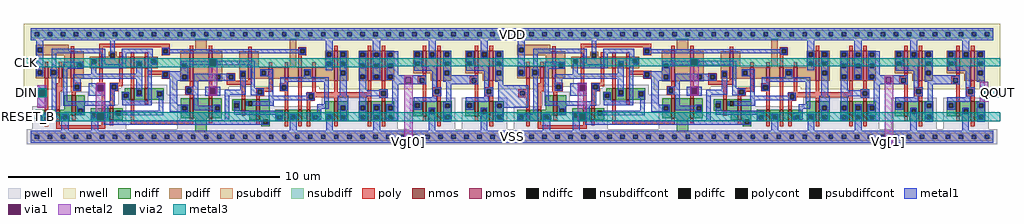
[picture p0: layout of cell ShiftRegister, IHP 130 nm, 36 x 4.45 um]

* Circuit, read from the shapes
.subckt ShiftRegister CLK DIN RESET_B Vg[0] Vg[1] QOUT VDD VSS
XM1 n1 DIN n2 VSS sg13_lv_nmos w=0.42u l=0.13u
XM2 VSS RESET_B n1 VSS sg13_lv_nmos w=0.42u l=0.13u
XM3 n3 n4 VSS VSS sg13_lv_nmos w=0.74u l=0.13u
XM4 n5 RESET_B VSS VSS sg13_lv_nmos w=0.42u l=0.13u
XM5 n6 n3 n5 VSS sg13_lv_nmos w=0.42u l=0.13u
XM6 n4 n7 n2 VSS sg13_lv_nmos w=0.42u l=0.13u
XM7 n6 n8 n4 VSS sg13_lv_nmos w=0.42u l=0.13u
XM8 VSS n7 n8 VSS sg13_lv_nmos w=0.74u l=0.13u
XM9 n7 CLK VSS VSS sg13_lv_nmos w=0.74u l=0.13u
XM10 n9 n7 n10 VSS sg13_lv_nmos w=0.42u l=0.13u
XM11 n3 n8 n9 VSS sg13_lv_nmos w=0.74u l=0.13u
XM12 VSS n11 n10 VSS sg13_lv_nmos w=0.42u l=0.13u
XM13 n12 RESET_B VSS VSS sg13_lv_nmos w=0.42u l=0.13u
XM14 n11 n9 n12 VSS sg13_lv_nmos w=0.42u l=0.13u
XM15 sg13g2_dfrbp_1_0/Q_N n9 VSS VSS sg13_lv_nmos w=0.74u l=0.13u
XM16 VSS n9 n13 VSS sg13_lv_nmos w=0.74u l=0.13u
XM17 Vg[0] n13 VSS VSS sg13_lv_nmos w=0.74u l=0.13u
XM18 VSS Vg[0] n14 VSS sg13_lv_nmos w=0.55u l=0.13u
XM19 sg13g2_buf_1_1/A n14 VSS VSS sg13_lv_nmos w=0.74u l=0.13u
XM20 VSS sg13g2_buf_1_1/A n15 VSS sg13_lv_nmos w=0.55u l=0.13u
XM21 sg13g2_dfrbp_1_1/D n15 VSS VSS sg13_lv_nmos w=0.74u l=0.13u
XM22 n16 sg13g2_dfrbp_1_1/D n17 VSS sg13_lv_nmos w=0.42u l=0.13u
XM23 VSS RESET_B n16 VSS sg13_lv_nmos w=0.42u l=0.13u
XM24 n18 n19 VSS VSS sg13_lv_nmos w=0.74u l=0.13u
XM25 n20 RESET_B VSS VSS sg13_lv_nmos w=0.42u l=0.13u
XM26 n21 n18 n20 VSS sg13_lv_nmos w=0.42u l=0.13u
XM27 n19 n22 n17 VSS sg13_lv_nmos w=0.42u l=0.13u
XM28 n21 n23 n19 VSS sg13_lv_nmos w=0.42u l=0.13u
XM29 VSS n22 n23 VSS sg13_lv_nmos w=0.74u l=0.13u
XM30 n22 CLK VSS VSS sg13_lv_nmos w=0.74u l=0.13u
XM31 n24 n22 n25 VSS sg13_lv_nmos w=0.42u l=0.13u
XM32 n18 n23 n24 VSS sg13_lv_nmos w=0.74u l=0.13u
XM33 VSS n26 n25 VSS sg13_lv_nmos w=0.42u l=0.13u
XM34 n27 RESET_B VSS VSS sg13_lv_nmos w=0.42u l=0.13u
XM35 n26 n24 n27 VSS sg13_lv_nmos w=0.42u l=0.13u
XM36 sg13g2_dfrbp_1_1/Q_N n24 VSS VSS sg13_lv_nmos w=0.74u l=0.13u
XM37 VSS n24 n28 VSS sg13_lv_nmos w=0.74u l=0.13u
XM38 Vg[1] n28 VSS VSS sg13_lv_nmos w=0.74u l=0.13u
XM39 VSS Vg[1] n29 VSS sg13_lv_nmos w=0.55u l=0.13u
XM40 sg13g2_buf_1_3/A n29 VSS VSS sg13_lv_nmos w=0.74u l=0.13u
XM41 VSS sg13g2_buf_1_3/A n30 VSS sg13_lv_nmos w=0.55u l=0.13u
XM42 QOUT n30 VSS VSS sg13_lv_nmos w=0.74u l=0.13u
XM43 n2 DIN VDD VDD sg13_lv_pmos w=0.42u l=0.13u
XM44 VDD RESET_B n2 VDD sg13_lv_pmos w=0.42u l=0.13u
XM45 n3 n4 VDD VDD sg13_lv_pmos w=1u l=0.13u
XM46 VDD RESET_B n4 VDD sg13_lv_pmos w=0.42u l=0.13u
XM47 n31 n3 VDD VDD sg13_lv_pmos w=0.42u l=0.13u
XM48 n4 n7 n31 VDD sg13_lv_pmos w=0.42u l=0.13u
XM49 n2 n8 n4 VDD sg13_lv_pmos w=0.42u l=0.13u
XM50 VDD n7 n8 VDD sg13_lv_pmos w=1.12u l=0.13u
XM51 n7 CLK VDD VDD sg13_lv_pmos w=1.12u l=0.13u
XM52 n9 n7 n3 VDD sg13_lv_pmos w=1u l=0.13u
XM53 n32 n8 n9 VDD sg13_lv_pmos w=0.42u l=0.13u
XM54 VDD n11 n32 VDD sg13_lv_pmos w=0.42u l=0.13u
XM55 n11 RESET_B VDD VDD sg13_lv_pmos w=0.42u l=0.13u
XM56 VDD n9 n11 VDD sg13_lv_pmos w=0.42u l=0.13u
XM57 sg13g2_dfrbp_1_0/Q_N n9 VDD VDD sg13_lv_pmos w=1.12u l=0.13u
XM58 VDD n9 n13 VDD sg13_lv_pmos w=1.12u l=0.13u
XM59 Vg[0] n13 VDD VDD sg13_lv_pmos w=1.12u l=0.13u
XM60 VDD Vg[0] n14 VDD sg13_lv_pmos w=0.84u l=0.13u
XM61 sg13g2_buf_1_1/A n14 VDD VDD sg13_lv_pmos w=1.12u l=0.13u
XM62 VDD sg13g2_buf_1_1/A n15 VDD sg13_lv_pmos w=0.84u l=0.13u
XM63 sg13g2_dfrbp_1_1/D n15 VDD VDD sg13_lv_pmos w=1.12u l=0.13u
XM64 n17 sg13g2_dfrbp_1_1/D VDD VDD sg13_lv_pmos w=0.42u l=0.13u
XM65 VDD RESET_B n17 VDD sg13_lv_pmos w=0.42u l=0.13u
XM66 n18 n19 VDD VDD sg13_lv_pmos w=1u l=0.13u
XM67 VDD RESET_B n19 VDD sg13_lv_pmos w=0.42u l=0.13u
XM68 n33 n18 VDD VDD sg13_lv_pmos w=0.42u l=0.13u
XM69 n19 n22 n33 VDD sg13_lv_pmos w=0.42u l=0.13u
XM70 n17 n23 n19 VDD sg13_lv_pmos w=0.42u l=0.13u
XM71 VDD n22 n23 VDD sg13_lv_pmos w=1.12u l=0.13u
XM72 n22 CLK VDD VDD sg13_lv_pmos w=1.12u l=0.13u
XM73 n24 n22 n18 VDD sg13_lv_pmos w=1u l=0.13u
XM74 n34 n23 n24 VDD sg13_lv_pmos w=0.42u l=0.13u
XM75 VDD n26 n34 VDD sg13_lv_pmos w=0.42u l=0.13u
XM76 n26 RESET_B VDD VDD sg13_lv_pmos w=0.42u l=0.13u
XM77 VDD n24 n26 VDD sg13_lv_pmos w=0.42u l=0.13u
XM78 sg13g2_dfrbp_1_1/Q_N n24 VDD VDD sg13_lv_pmos w=1.12u l=0.13u
XM79 VDD n24 n28 VDD sg13_lv_pmos w=1.12u l=0.13u
XM80 Vg[1] n28 VDD VDD sg13_lv_pmos w=1.12u l=0.13u
XM81 VDD Vg[1] n29 VDD sg13_lv_pmos w=0.84u l=0.13u
XM82 sg13g2_buf_1_3/A n29 VDD VDD sg13_lv_pmos w=1.12u l=0.13u
XM83 VDD sg13g2_buf_1_3/A n30 VDD sg13_lv_pmos w=0.84u l=0.13u
XM84 QOUT n30 VDD VDD sg13_lv_pmos w=1.12u l=0.13u
.ends

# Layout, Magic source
magic
tech ihp-sg13g2
<< metal1 >>
rect -16 357 3536 401
rect 1340 221 1444 227
rect 1340 198 1366 221
rect 1389 198 1444 221
rect 1340 194 1444 198
rect 1536 194 1636 227
rect 3116 220 3220 227
rect 3116 200 3139 220
rect 3159 200 3220 220
rect 3116 194 3220 200
rect 3311 194 3412 227
rect 1728 108 1820 190
rect 3485 173 3517 179
rect 3485 151 3491 173
rect 3512 151 3517 173
rect 3485 146 3517 151
rect -16 -21 3536 23
<< via1 >>
rect 1366 198 1389 221
rect 3139 200 3159 220
rect 15 151 38 174
rect 230 168 254 193
rect 646 158 668 181
rect 2009 171 2030 193
rect 2422 158 2444 181
rect 3491 151 3512 173
<< metal2 >>
rect 641 286 673 291
rect 641 263 646 286
rect 668 263 673 286
rect 225 193 259 198
rect 9 174 44 190
rect 9 151 15 174
rect 38 151 44 174
rect 9 107 44 151
rect 225 168 230 193
rect 254 168 259 193
rect 225 87 259 168
rect 641 181 673 263
rect 2417 287 2448 291
rect 2417 264 2422 287
rect 2443 264 2448 287
rect 641 158 646 181
rect 668 158 673 181
rect 641 153 673 158
rect 1362 221 1394 227
rect 1362 198 1366 221
rect 1389 198 1394 221
rect 225 62 230 87
rect 254 62 259 87
rect 225 57 259 62
rect 1362 -27 1394 198
rect 2003 193 2035 200
rect 2003 171 2009 193
rect 2030 171 2035 193
rect 2003 86 2035 171
rect 2417 181 2448 264
rect 2417 158 2422 181
rect 2444 158 2448 181
rect 2417 153 2448 158
rect 3134 220 3166 227
rect 3134 200 3139 220
rect 3159 200 3166 220
rect 2003 64 2009 86
rect 2030 64 2035 86
rect 2003 58 2035 64
rect 3134 -27 3166 200
rect 3485 173 3517 203
rect 3485 151 3491 173
rect 3512 151 3517 173
rect 3485 130 3517 151
<< via2 >>
rect 646 263 668 286
rect 15 151 38 174
rect 2422 264 2443 287
rect 230 62 254 87
rect 2009 64 2030 86
rect 3491 151 3512 173
<< metal3 >>
rect -40 287 3560 291
rect -40 286 2422 287
rect -40 263 646 286
rect 668 264 2422 286
rect 2443 264 3560 287
rect 668 263 3560 264
rect -40 261 3560 263
rect -40 258 1292 261
rect -40 174 44 179
rect -40 151 15 174
rect 38 151 44 174
rect -40 146 44 151
rect 3485 173 3560 179
rect 3485 151 3491 173
rect 3512 151 3560 173
rect 3485 146 3560 151
rect -40 87 3560 91
rect -40 62 230 87
rect 254 86 3560 87
rect 254 64 2009 86
rect 2030 64 3560 86
rect 254 62 3560 64
rect -40 58 3560 62
use sg13g2_buf_1  sg13g2_buf_1_0 ~/ASHES-IHP130nm/ihp130_dig
transform 1 0 1376 0 1 1
box -24 -28 216 417
use sg13g2_buf_1  sg13g2_buf_1_1
transform 1 0 1568 0 1 1
box -24 -28 216 417
use sg13g2_buf_1  sg13g2_buf_1_2
transform 1 0 3152 0 1 1
box -24 -28 216 417
use sg13g2_buf_1  sg13g2_buf_1_3
transform 1 0 3344 0 1 1
box -24 -28 216 417
use sg13g2_dfrbp_1  sg13g2_dfrbp_1_0 ~/ASHES-IHP130nm/ihp130_dig
transform 1 0 -16 0 1 1
box -24 -28 1416 417
use sg13g2_dfrbp_1  sg13g2_dfrbp_1_1
transform 1 0 1760 0 1 1
box -24 -28 1416 417
<< labels >>
flabel metal3 -40 258 -20 291 1 FreeSans 80 90 0 0 CLK
port 1 n
flabel metal3 -40 146 -20 179 1 FreeSans 80 90 0 0 DIN
port 2 n
flabel metal3 -40 58 -20 91 1 FreeSans 80 90 0 0 RESET_B
port 3 n
flabel metal2 1362 -27 1394 -7 1 FreeSans 80 0 0 0 Vg[0]
port 4 n
flabel metal2 3134 -27 3166 -7 1 FreeSans 80 0 0 0 Vg[1]
port 5 n
flabel metal3 3540 146 3560 179 1 FreeSans 80 90 0 0 QOUT
port 6 n
flabel metal1 -16 357 3536 401 1 FreeSans 240 0 0 0 VDD
port 7 n
flabel metal1 -16 -21 3536 23 1 FreeSans 240 0 0 0 VSS
port 8 n
<< end >>

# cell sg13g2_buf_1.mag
magic
tech ihp-sg13g2
magscale 1 2
<< nwell >>
rect -48 350 432 834
<< pwell >>
rect 14 56 348 288
rect -26 -56 410 56
<< nmos >>
rect 108 152 134 262
rect 218 114 244 262
<< pmos >>
rect 108 468 134 636
rect 218 412 244 636
<< ndiff >>
rect 40 247 108 262
rect 40 215 54 247
rect 86 215 108 247
rect 40 152 108 215
rect 134 202 218 262
rect 134 170 164 202
rect 196 170 218 202
rect 134 152 218 170
rect 148 114 218 152
rect 244 245 322 262
rect 244 213 276 245
rect 308 213 322 245
rect 244 162 322 213
rect 244 130 276 162
rect 308 130 322 162
rect 244 114 322 130
<< pdiff >>
rect 40 622 108 636
rect 40 590 54 622
rect 86 590 108 622
rect 40 554 108 590
rect 40 522 54 554
rect 86 522 108 554
rect 40 468 108 522
rect 134 622 218 636
rect 134 590 164 622
rect 196 590 218 622
rect 134 468 218 590
rect 168 412 218 468
rect 244 622 319 636
rect 244 590 273 622
rect 305 590 319 622
rect 244 554 319 590
rect 244 522 273 554
rect 305 522 319 554
rect 244 486 319 522
rect 244 454 273 486
rect 305 454 319 486
rect 244 412 319 454
<< ndiffc >>
rect 54 215 86 247
rect 164 170 196 202
rect 276 213 308 245
rect 276 130 308 162
<< pdiffc >>
rect 54 590 86 622
rect 54 522 86 554
rect 164 590 196 622
rect 273 590 305 622
rect 273 522 305 554
rect 273 454 305 486
<< psubdiff >>
rect 0 16 384 30
rect 0 -16 32 16
rect 64 -16 128 16
rect 160 -16 224 16
rect 256 -16 320 16
rect 352 -16 384 16
rect 0 -30 384 -16
<< nsubdiff >>
rect 0 772 384 786
rect 0 740 32 772
rect 64 740 128 772
rect 160 740 224 772
rect 256 740 320 772
rect 352 740 384 772
rect 0 726 384 740
<< psubdiffcont >>
rect 32 -16 64 16
rect 128 -16 160 16
rect 224 -16 256 16
rect 320 -16 352 16
<< nsubdiffcont >>
rect 32 740 64 772
rect 128 740 160 772
rect 224 740 256 772
rect 320 740 352 772
<< poly >>
rect 108 636 134 672
rect 218 636 244 672
rect 108 446 134 468
rect 73 432 134 446
rect 73 400 87 432
rect 119 400 134 432
rect 73 386 134 400
rect 108 262 134 386
rect 218 366 244 412
rect 184 349 244 366
rect 184 317 198 349
rect 230 317 244 349
rect 184 300 244 317
rect 218 262 244 300
rect 108 116 134 152
rect 218 78 244 114
<< polycont >>
rect 87 400 119 432
rect 198 317 230 349
<< metal1 >>
rect 0 772 384 800
rect 0 740 32 772
rect 64 740 128 772
rect 160 740 224 772
rect 256 740 320 772
rect 352 740 384 772
rect 0 712 384 740
rect 48 622 102 636
rect 48 590 54 622
rect 86 590 102 622
rect 48 554 102 590
rect 154 622 206 712
rect 154 590 164 622
rect 196 590 206 622
rect 154 578 206 590
rect 260 622 320 636
rect 260 590 273 622
rect 305 590 320 622
rect 48 522 54 554
rect 86 524 102 554
rect 260 554 320 590
rect 86 522 214 524
rect 48 488 214 522
rect 57 432 136 452
rect 57 400 87 432
rect 119 400 136 432
rect 57 386 136 400
rect 180 366 214 488
rect 260 522 273 554
rect 305 522 320 554
rect 260 486 320 522
rect 260 454 273 486
rect 305 454 320 486
rect 260 404 320 454
rect 180 349 245 366
rect 180 317 198 349
rect 230 317 245 349
rect 180 300 245 317
rect 180 293 214 300
rect 43 258 214 293
rect 282 258 320 404
rect 43 247 103 258
rect 43 215 54 247
rect 86 215 103 247
rect 43 200 103 215
rect 262 245 320 258
rect 153 202 203 214
rect 153 170 164 202
rect 196 170 203 202
rect 153 44 203 170
rect 262 213 276 245
rect 308 213 320 245
rect 262 162 320 213
rect 262 130 276 162
rect 308 130 320 162
rect 262 110 320 130
rect 0 16 384 44
rect 0 -16 32 16
rect 64 -16 128 16
rect 160 -16 224 16
rect 256 -16 320 16
rect 352 -16 384 16
rect 0 -44 384 -16
<< labels >>
flabel metal1 s 263 414 316 589 0 FreeSans 340 0 0 0 X
port 2 nsew
flabel metal1 s 57 386 136 452 0 FreeSans 340 0 0 0 A
port 1 nsew
flabel metal1 s 0 -44 384 44 0 FreeSans 400 0 0 0 VSS
port 4 nsew
flabel metal1 s 0 712 384 800 0 FreeSans 400 0 0 0 VDD
port 3 nsew
<< properties >>
string FIXED_BBOX 0 0 384 756
<< end >>

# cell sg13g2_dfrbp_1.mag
magic
tech ihp-sg13g2
magscale 1 2
<< nwell >>
rect -48 443 2832 834
rect -48 370 454 443
rect -48 350 187 370
rect 1044 367 2832 443
rect 1044 348 1463 367
rect 2131 350 2832 367
<< pwell >>
rect 669 358 1008 382
rect 223 237 426 333
rect 647 309 1008 358
rect 647 301 1435 309
rect 647 246 1790 301
rect 647 237 706 246
rect 223 224 706 237
rect 12 56 706 224
rect 1081 224 1790 246
rect 2148 224 2711 288
rect 1081 56 2711 224
rect -26 -56 2810 56
<< nmos >>
rect 106 114 132 198
rect 190 114 216 198
rect 306 159 332 307
rect 741 272 767 356
rect 843 272 869 356
rect 524 127 550 211
rect 586 127 612 211
rect 1175 135 1201 283
rect 1315 135 1341 283
rect 1557 191 1583 275
rect 1664 127 1690 275
rect 1874 114 1900 198
rect 1976 114 2002 198
rect 2038 114 2064 198
rect 2242 114 2268 262
rect 2489 114 2515 262
rect 2591 114 2617 262
<< pmos >>
rect 106 432 132 516
rect 208 432 234 516
rect 298 432 324 632
rect 508 505 534 589
rect 655 505 681 589
rect 741 505 767 589
rect 843 505 869 589
rect 1175 410 1201 634
rect 1315 410 1341 634
rect 1607 429 1633 629
rect 1759 429 1785 513
rect 1874 429 1900 513
rect 1976 429 2002 513
rect 2078 429 2104 513
rect 2242 412 2268 636
rect 2489 412 2515 636
rect 2591 412 2617 636
<< ndiff >>
rect 249 198 306 307
rect 38 160 106 198
rect 38 128 52 160
rect 84 128 106 160
rect 38 114 106 128
rect 132 114 190 198
rect 216 160 306 198
rect 216 128 238 160
rect 270 159 306 160
rect 332 208 400 307
rect 695 332 741 356
rect 673 318 741 332
rect 673 286 687 318
rect 719 286 741 318
rect 673 272 741 286
rect 767 342 843 356
rect 767 310 789 342
rect 821 310 843 342
rect 767 272 843 310
rect 869 330 982 356
rect 869 298 936 330
rect 968 298 982 330
rect 869 272 982 298
rect 332 176 354 208
rect 386 176 400 208
rect 332 159 400 176
rect 443 173 524 211
rect 270 128 289 159
rect 216 114 289 128
rect 443 141 457 173
rect 489 141 524 173
rect 443 127 524 141
rect 550 127 586 211
rect 612 191 680 211
rect 612 159 634 191
rect 666 159 680 191
rect 612 127 680 159
rect 1107 226 1175 283
rect 1107 194 1121 226
rect 1153 194 1175 226
rect 1107 135 1175 194
rect 1201 135 1315 283
rect 1341 226 1409 283
rect 1341 194 1363 226
rect 1395 194 1409 226
rect 1341 135 1409 194
rect 1489 247 1557 275
rect 1489 215 1503 247
rect 1535 215 1557 247
rect 1489 191 1557 215
rect 1583 261 1664 275
rect 1583 229 1605 261
rect 1637 229 1664 261
rect 1583 191 1664 229
rect 1215 36 1301 135
rect 1612 127 1664 191
rect 1690 127 1764 275
rect 1704 125 1764 127
rect 1704 93 1718 125
rect 1750 93 1764 125
rect 1806 160 1874 198
rect 1806 128 1820 160
rect 1852 128 1874 160
rect 1806 114 1874 128
rect 1900 160 1976 198
rect 1900 128 1922 160
rect 1954 128 1976 160
rect 1900 114 1976 128
rect 2002 114 2038 198
rect 2064 160 2132 198
rect 2064 128 2086 160
rect 2118 128 2132 160
rect 2064 114 2132 128
rect 2174 160 2242 262
rect 2174 128 2188 160
rect 2220 128 2242 160
rect 2174 114 2242 128
rect 2268 228 2345 262
rect 2268 196 2290 228
rect 2322 196 2345 228
rect 2268 160 2345 196
rect 2268 128 2290 160
rect 2322 128 2345 160
rect 2268 114 2345 128
rect 2421 228 2489 262
rect 2421 196 2435 228
rect 2467 196 2489 228
rect 2421 160 2489 196
rect 2421 128 2435 160
rect 2467 128 2489 160
rect 2421 114 2489 128
rect 2515 228 2591 262
rect 2515 196 2537 228
rect 2569 196 2591 228
rect 2515 160 2591 196
rect 2515 128 2537 160
rect 2569 128 2591 160
rect 2515 114 2591 128
rect 2617 228 2685 262
rect 2617 196 2639 228
rect 2671 196 2685 228
rect 2617 160 2685 196
rect 2617 128 2639 160
rect 2671 128 2685 160
rect 2617 114 2685 128
rect 1704 78 1764 93
<< pdiff >>
rect 38 656 283 679
rect 38 624 53 656
rect 85 632 283 656
rect 85 624 298 632
rect 38 602 298 624
rect 248 516 298 602
rect 38 490 106 516
rect 38 458 52 490
rect 84 458 106 490
rect 38 432 106 458
rect 132 490 208 516
rect 132 458 154 490
rect 186 458 208 490
rect 132 432 208 458
rect 234 432 298 516
rect 324 542 392 632
rect 576 614 636 628
rect 576 589 590 614
rect 324 510 346 542
rect 378 510 392 542
rect 324 432 392 510
rect 438 570 508 589
rect 438 538 452 570
rect 484 538 508 570
rect 438 505 508 538
rect 534 582 590 589
rect 622 589 636 614
rect 1215 634 1301 720
rect 622 582 655 589
rect 534 505 655 582
rect 681 505 741 589
rect 767 551 843 589
rect 767 519 789 551
rect 821 519 843 551
rect 767 505 843 519
rect 869 573 937 589
rect 869 541 891 573
rect 923 541 937 573
rect 869 505 937 541
rect 1106 540 1175 634
rect 1106 508 1120 540
rect 1152 508 1175 540
rect 1106 456 1175 508
rect 1106 424 1120 456
rect 1152 424 1175 456
rect 1106 410 1175 424
rect 1201 410 1315 634
rect 1341 456 1414 634
rect 1539 475 1607 629
rect 1341 424 1368 456
rect 1400 424 1414 456
rect 1341 410 1414 424
rect 1539 443 1553 475
rect 1585 443 1607 475
rect 1539 429 1607 443
rect 1633 513 1683 629
rect 1914 513 1962 720
rect 2174 622 2242 636
rect 2174 590 2188 622
rect 2220 590 2242 622
rect 2174 554 2242 590
rect 2174 522 2188 554
rect 2220 522 2242 554
rect 2174 513 2242 522
rect 1633 487 1759 513
rect 1633 455 1705 487
rect 1737 455 1759 487
rect 1633 429 1759 455
rect 1785 429 1874 513
rect 1900 429 1976 513
rect 2002 487 2078 513
rect 2002 455 2024 487
rect 2056 455 2078 487
rect 2002 429 2078 455
rect 2104 429 2242 513
rect 2174 412 2242 429
rect 2268 622 2345 636
rect 2268 590 2290 622
rect 2322 590 2345 622
rect 2268 554 2345 590
rect 2268 522 2290 554
rect 2322 522 2345 554
rect 2268 486 2345 522
rect 2268 454 2290 486
rect 2322 454 2345 486
rect 2268 412 2345 454
rect 2420 621 2489 636
rect 2420 589 2434 621
rect 2466 589 2489 621
rect 2420 540 2489 589
rect 2420 508 2434 540
rect 2466 508 2489 540
rect 2420 459 2489 508
rect 2420 427 2434 459
rect 2466 427 2489 459
rect 2420 412 2489 427
rect 2515 621 2591 636
rect 2515 589 2537 621
rect 2569 589 2591 621
rect 2515 540 2591 589
rect 2515 508 2537 540
rect 2569 508 2591 540
rect 2515 459 2591 508
rect 2515 427 2537 459
rect 2569 427 2591 459
rect 2515 412 2591 427
rect 2617 621 2685 636
rect 2617 589 2639 621
rect 2671 589 2685 621
rect 2617 540 2685 589
rect 2617 508 2639 540
rect 2671 508 2685 540
rect 2617 459 2685 508
rect 2617 427 2639 459
rect 2671 427 2685 459
rect 2617 412 2685 427
<< ndiffc >>
rect 52 128 84 160
rect 238 128 270 160
rect 687 286 719 318
rect 789 310 821 342
rect 936 298 968 330
rect 354 176 386 208
rect 457 141 489 173
rect 634 159 666 191
rect 1121 194 1153 226
rect 1363 194 1395 226
rect 1503 215 1535 247
rect 1605 229 1637 261
rect 1718 93 1750 125
rect 1820 128 1852 160
rect 1922 128 1954 160
rect 2086 128 2118 160
rect 2188 128 2220 160
rect 2290 196 2322 228
rect 2290 128 2322 160
rect 2435 196 2467 228
rect 2435 128 2467 160
rect 2537 196 2569 228
rect 2537 128 2569 160
rect 2639 196 2671 228
rect 2639 128 2671 160
<< pdiffc >>
rect 53 624 85 656
rect 52 458 84 490
rect 154 458 186 490
rect 346 510 378 542
rect 452 538 484 570
rect 590 582 622 614
rect 789 519 821 551
rect 891 541 923 573
rect 1120 508 1152 540
rect 1120 424 1152 456
rect 1368 424 1400 456
rect 1553 443 1585 475
rect 2188 590 2220 622
rect 2188 522 2220 554
rect 1705 455 1737 487
rect 2024 455 2056 487
rect 2290 590 2322 622
rect 2290 522 2322 554
rect 2290 454 2322 486
rect 2434 589 2466 621
rect 2434 508 2466 540
rect 2434 427 2466 459
rect 2537 589 2569 621
rect 2537 508 2569 540
rect 2537 427 2569 459
rect 2639 589 2671 621
rect 2639 508 2671 540
rect 2639 427 2671 459
<< psubdiff >>
rect 1215 30 1301 36
rect 0 16 2784 30
rect 0 -16 32 16
rect 64 -16 128 16
rect 160 -16 224 16
rect 256 -16 320 16
rect 352 -16 416 16
rect 448 -16 512 16
rect 544 -16 608 16
rect 640 -16 704 16
rect 736 -16 800 16
rect 832 -16 896 16
rect 928 -16 992 16
rect 1024 -16 1088 16
rect 1120 -16 1184 16
rect 1216 -16 1280 16
rect 1312 -16 1376 16
rect 1408 -16 1472 16
rect 1504 -16 1568 16
rect 1600 -16 1664 16
rect 1696 -16 1760 16
rect 1792 -16 1856 16
rect 1888 -16 1952 16
rect 1984 -16 2048 16
rect 2080 -16 2144 16
rect 2176 -16 2240 16
rect 2272 -16 2336 16
rect 2368 -16 2432 16
rect 2464 -16 2528 16
rect 2560 -16 2624 16
rect 2656 -16 2720 16
rect 2752 -16 2784 16
rect 0 -30 2784 -16
<< nsubdiff >>
rect 0 772 2784 786
rect 0 740 32 772
rect 64 740 128 772
rect 160 740 224 772
rect 256 740 320 772
rect 352 740 416 772
rect 448 740 512 772
rect 544 740 608 772
rect 640 740 704 772
rect 736 740 800 772
rect 832 740 896 772
rect 928 740 992 772
rect 1024 740 1088 772
rect 1120 740 1184 772
rect 1216 740 1280 772
rect 1312 740 1376 772
rect 1408 740 1472 772
rect 1504 740 1568 772
rect 1600 740 1664 772
rect 1696 740 1760 772
rect 1792 740 1856 772
rect 1888 740 1952 772
rect 1984 740 2048 772
rect 2080 740 2144 772
rect 2176 740 2240 772
rect 2272 740 2336 772
rect 2368 740 2432 772
rect 2464 740 2528 772
rect 2560 740 2624 772
rect 2656 740 2720 772
rect 2752 740 2784 772
rect 0 726 2784 740
rect 1215 720 1301 726
rect 1914 720 1962 726
<< psubdiffcont >>
rect 32 -16 64 16
rect 128 -16 160 16
rect 224 -16 256 16
rect 320 -16 352 16
rect 416 -16 448 16
rect 512 -16 544 16
rect 608 -16 640 16
rect 704 -16 736 16
rect 800 -16 832 16
rect 896 -16 928 16
rect 992 -16 1024 16
rect 1088 -16 1120 16
rect 1184 -16 1216 16
rect 1280 -16 1312 16
rect 1376 -16 1408 16
rect 1472 -16 1504 16
rect 1568 -16 1600 16
rect 1664 -16 1696 16
rect 1760 -16 1792 16
rect 1856 -16 1888 16
rect 1952 -16 1984 16
rect 2048 -16 2080 16
rect 2144 -16 2176 16
rect 2240 -16 2272 16
rect 2336 -16 2368 16
rect 2432 -16 2464 16
rect 2528 -16 2560 16
rect 2624 -16 2656 16
rect 2720 -16 2752 16
<< nsubdiffcont >>
rect 32 740 64 772
rect 128 740 160 772
rect 224 740 256 772
rect 320 740 352 772
rect 416 740 448 772
rect 512 740 544 772
rect 608 740 640 772
rect 704 740 736 772
rect 800 740 832 772
rect 896 740 928 772
rect 992 740 1024 772
rect 1088 740 1120 772
rect 1184 740 1216 772
rect 1280 740 1312 772
rect 1376 740 1408 772
rect 1472 740 1504 772
rect 1568 740 1600 772
rect 1664 740 1696 772
rect 1760 740 1792 772
rect 1856 740 1888 772
rect 1952 740 1984 772
rect 2048 740 2080 772
rect 2144 740 2176 772
rect 2240 740 2272 772
rect 2336 740 2368 772
rect 2432 740 2464 772
rect 2528 740 2560 772
rect 2624 740 2656 772
rect 2720 740 2752 772
<< poly >>
rect 298 632 324 668
rect 508 661 1027 687
rect 106 516 132 552
rect 208 516 234 552
rect 508 589 534 661
rect 967 647 1027 661
rect 655 589 681 625
rect 741 589 767 625
rect 843 589 869 625
rect 967 615 981 647
rect 1013 615 1027 647
rect 1175 634 1201 670
rect 1315 634 1341 670
rect 967 601 1027 615
rect 106 351 132 432
rect 208 396 234 432
rect 47 337 132 351
rect 47 305 61 337
rect 93 305 132 337
rect 47 291 132 305
rect 106 198 132 291
rect 190 337 234 396
rect 298 397 324 432
rect 508 397 534 505
rect 655 397 681 505
rect 298 383 373 397
rect 298 351 327 383
rect 359 351 373 383
rect 298 337 373 351
rect 490 383 550 397
rect 490 351 504 383
rect 536 351 550 383
rect 490 337 550 351
rect 190 198 216 337
rect 306 307 332 337
rect 524 211 550 337
rect 586 383 681 397
rect 586 351 600 383
rect 632 371 681 383
rect 632 351 646 371
rect 741 356 767 505
rect 843 488 869 505
rect 843 474 1027 488
rect 843 458 981 474
rect 843 356 869 458
rect 967 442 981 458
rect 1013 442 1027 474
rect 967 428 1027 442
rect 1607 629 1633 665
rect 1449 456 1509 470
rect 1449 424 1463 456
rect 1495 424 1509 456
rect 1759 513 1785 549
rect 1874 513 1900 549
rect 1976 647 2036 661
rect 1976 615 1990 647
rect 2022 615 2036 647
rect 2242 636 2268 672
rect 2489 636 2515 672
rect 2591 636 2617 672
rect 1976 601 2036 615
rect 1976 513 2002 601
rect 2078 513 2104 549
rect 1449 414 1509 424
rect 1607 414 1633 429
rect 1175 371 1201 410
rect 1141 357 1201 371
rect 586 337 646 351
rect 586 211 612 337
rect 1141 325 1155 357
rect 1187 325 1201 357
rect 1141 311 1201 325
rect 1175 283 1201 311
rect 1315 371 1341 410
rect 1449 384 1633 414
rect 1315 357 1375 371
rect 1315 325 1329 357
rect 1361 325 1375 357
rect 1315 311 1375 325
rect 1315 283 1341 311
rect 306 123 332 159
rect 106 78 132 114
rect 190 86 216 114
rect 524 86 550 127
rect 190 59 550 86
rect 586 85 612 127
rect 741 121 767 272
rect 843 236 869 272
rect 1557 275 1583 384
rect 1759 361 1785 429
rect 1874 394 1900 429
rect 1664 347 1785 361
rect 1664 315 1678 347
rect 1710 332 1785 347
rect 1840 380 1900 394
rect 1840 348 1854 380
rect 1886 348 1900 380
rect 1840 334 1900 348
rect 1710 315 1724 332
rect 1664 301 1724 315
rect 1664 275 1690 301
rect 1557 153 1583 191
rect 1175 121 1201 135
rect 741 93 1201 121
rect 1315 99 1341 135
rect 1874 198 1900 334
rect 1976 198 2002 429
rect 2078 327 2104 429
rect 2242 327 2268 412
rect 2489 327 2515 412
rect 2591 349 2617 412
rect 2038 313 2515 327
rect 2038 281 2052 313
rect 2084 290 2515 313
rect 2084 281 2098 290
rect 2038 267 2098 281
rect 2038 198 2064 267
rect 2242 262 2268 290
rect 2489 262 2515 290
rect 2574 335 2634 349
rect 2574 303 2588 335
rect 2620 303 2634 335
rect 2574 289 2634 303
rect 2591 262 2617 289
rect 1664 89 1690 127
rect 1874 78 1900 114
rect 1976 78 2002 114
rect 2038 78 2064 114
rect 2242 78 2268 114
rect 2489 78 2515 114
rect 2591 78 2617 114
<< polycont >>
rect 981 615 1013 647
rect 61 305 93 337
rect 327 351 359 383
rect 504 351 536 383
rect 600 351 632 383
rect 981 442 1013 474
rect 1463 424 1495 456
rect 1990 615 2022 647
rect 1155 325 1187 357
rect 1329 325 1361 357
rect 1678 315 1710 347
rect 1854 348 1886 380
rect 2052 281 2084 313
rect 2588 303 2620 335
<< metal1 >>
rect 0 772 2784 800
rect 0 740 32 772
rect 64 740 128 772
rect 160 740 224 772
rect 256 740 320 772
rect 352 740 416 772
rect 448 740 512 772
rect 544 740 608 772
rect 640 740 704 772
rect 736 740 800 772
rect 832 740 896 772
rect 928 740 992 772
rect 1024 740 1088 772
rect 1120 740 1184 772
rect 1216 740 1280 772
rect 1312 740 1376 772
rect 1408 740 1472 772
rect 1504 740 1568 772
rect 1600 740 1664 772
rect 1696 740 1760 772
rect 1792 740 1856 772
rect 1888 740 1952 772
rect 1984 740 2048 772
rect 2080 740 2144 772
rect 2176 740 2240 772
rect 2272 740 2336 772
rect 2368 740 2432 772
rect 2464 740 2528 772
rect 2560 740 2624 772
rect 2656 740 2720 772
rect 2752 740 2784 772
rect 0 712 2784 740
rect 43 656 95 712
rect 43 624 53 656
rect 85 624 95 656
rect 43 490 95 624
rect 157 616 553 648
rect 157 500 190 616
rect 449 570 485 580
rect 240 542 388 552
rect 240 510 346 542
rect 378 510 388 542
rect 240 500 388 510
rect 449 538 452 570
rect 484 538 485 570
rect 43 458 52 490
rect 84 458 95 490
rect 43 448 95 458
rect 144 490 196 500
rect 144 458 154 490
rect 186 458 196 490
rect 144 448 196 458
rect 51 337 120 378
rect 51 305 61 337
rect 93 305 120 337
rect 51 214 120 305
rect 157 170 190 448
rect 240 262 272 500
rect 449 463 485 538
rect 521 536 553 616
rect 589 614 623 712
rect 589 582 590 614
rect 622 582 623 614
rect 589 572 623 582
rect 673 616 901 648
rect 673 536 707 616
rect 864 583 901 616
rect 971 647 1023 657
rect 1982 647 2032 657
rect 971 615 981 647
rect 1013 615 1990 647
rect 2022 615 2032 647
rect 971 605 1023 615
rect 1982 605 2032 615
rect 2178 622 2230 712
rect 2178 590 2188 622
rect 2220 590 2230 622
rect 864 573 933 583
rect 521 504 707 536
rect 779 551 823 561
rect 779 519 789 551
rect 821 519 823 551
rect 779 463 823 519
rect 449 461 823 463
rect 317 429 823 461
rect 317 383 369 429
rect 317 351 327 383
rect 359 351 369 383
rect 317 341 369 351
rect 429 383 550 393
rect 429 351 504 383
rect 536 351 550 383
rect 429 302 550 351
rect 590 383 642 393
rect 590 351 600 383
rect 632 351 642 383
rect 590 341 642 351
rect 779 342 823 429
rect 590 262 622 341
rect 240 230 622 262
rect 677 318 729 328
rect 677 286 687 318
rect 719 286 729 318
rect 779 310 789 342
rect 821 310 823 342
rect 779 300 823 310
rect 864 541 891 573
rect 923 541 933 573
rect 864 531 933 541
rect 1110 540 1655 560
rect 677 264 729 286
rect 864 264 896 531
rect 1110 508 1120 540
rect 1152 526 1655 540
rect 1152 508 1162 526
rect 1110 484 1162 508
rect 971 474 1162 484
rect 971 442 981 474
rect 1013 456 1162 474
rect 1549 475 1587 485
rect 1013 442 1120 456
rect 971 432 1120 442
rect 1029 424 1120 432
rect 1152 424 1162 456
rect 1029 414 1162 424
rect 1204 456 1505 466
rect 1204 424 1368 456
rect 1400 424 1463 456
rect 1495 424 1505 456
rect 1204 414 1505 424
rect 1549 443 1553 475
rect 1585 443 1587 475
rect 932 330 981 340
rect 932 298 936 330
rect 968 298 981 330
rect 932 288 981 298
rect 677 232 896 264
rect 344 208 396 230
rect 344 176 354 208
rect 386 176 396 208
rect 42 160 190 170
rect 42 128 52 160
rect 84 128 190 160
rect 42 118 190 128
rect 228 160 282 170
rect 344 163 396 176
rect 447 173 499 183
rect 228 128 238 160
rect 270 128 282 160
rect 228 44 282 128
rect 447 141 457 173
rect 489 141 499 173
rect 447 44 499 141
rect 541 121 575 230
rect 945 192 981 288
rect 624 191 981 192
rect 624 159 634 191
rect 666 159 981 191
rect 1029 236 1084 414
rect 1204 367 1236 414
rect 1145 357 1236 367
rect 1145 325 1155 357
rect 1187 325 1236 357
rect 1145 315 1236 325
rect 1029 226 1163 236
rect 1029 194 1121 226
rect 1153 194 1163 226
rect 1204 228 1236 315
rect 1290 357 1398 368
rect 1290 325 1329 357
rect 1361 325 1398 357
rect 1549 345 1587 443
rect 1290 304 1398 325
rect 1434 311 1587 345
rect 1623 357 1655 526
rect 2178 554 2230 590
rect 2178 522 2188 554
rect 2220 522 2230 554
rect 1695 487 1790 497
rect 1695 455 1705 487
rect 1737 455 1790 487
rect 1695 445 1790 455
rect 1623 347 1720 357
rect 1623 315 1678 347
rect 1710 315 1720 347
rect 1351 228 1398 236
rect 1204 226 1398 228
rect 1204 196 1363 226
rect 1029 184 1163 194
rect 1351 194 1363 196
rect 1395 194 1398 226
rect 1351 184 1398 194
rect 624 157 981 159
rect 1434 121 1466 311
rect 1623 305 1720 315
rect 1758 302 1790 445
rect 2014 487 2066 499
rect 2178 492 2230 522
rect 2280 622 2332 631
rect 2280 590 2290 622
rect 2322 590 2332 622
rect 2280 554 2332 590
rect 2280 522 2290 554
rect 2322 522 2332 554
rect 2014 455 2024 487
rect 2056 455 2066 487
rect 2014 439 2066 455
rect 2280 486 2332 522
rect 2280 454 2290 486
rect 2322 454 2332 486
rect 1844 407 2200 439
rect 1844 380 1896 407
rect 1844 348 1854 380
rect 1886 348 1896 380
rect 1844 338 1896 348
rect 2033 313 2094 325
rect 2033 302 2052 313
rect 1758 281 2052 302
rect 2084 281 2094 313
rect 1758 270 2094 281
rect 1758 263 1794 270
rect 1502 247 1545 262
rect 1502 215 1503 247
rect 1535 215 1545 247
rect 1592 261 1794 263
rect 1592 229 1605 261
rect 1637 229 1794 261
rect 2168 238 2200 407
rect 2280 304 2332 454
rect 2425 621 2477 631
rect 2425 589 2434 621
rect 2466 589 2477 621
rect 2425 540 2477 589
rect 2425 508 2434 540
rect 2466 508 2477 540
rect 2425 459 2477 508
rect 2425 427 2434 459
rect 2466 427 2477 459
rect 2425 342 2477 427
rect 2526 621 2580 712
rect 2526 589 2537 621
rect 2569 589 2580 621
rect 2526 540 2580 589
rect 2526 508 2537 540
rect 2569 508 2580 540
rect 2526 459 2580 508
rect 2526 427 2537 459
rect 2569 427 2580 459
rect 2526 420 2580 427
rect 2629 621 2712 631
rect 2629 589 2639 621
rect 2671 589 2712 621
rect 2629 540 2712 589
rect 2629 508 2639 540
rect 2671 508 2712 540
rect 2629 459 2712 508
rect 2629 427 2639 459
rect 2671 427 2712 459
rect 2629 419 2712 427
rect 2574 342 2634 349
rect 2425 335 2634 342
rect 1502 193 1545 215
rect 2114 206 2200 238
rect 2268 228 2345 304
rect 1502 161 1862 193
rect 2114 177 2146 206
rect 2268 198 2290 228
rect 1810 160 1862 161
rect 1810 128 1820 160
rect 1852 128 1862 160
rect 1708 121 1718 125
rect 541 93 1718 121
rect 1750 93 1760 125
rect 1810 118 1862 128
rect 1912 160 1964 170
rect 1912 128 1922 160
rect 1954 128 1964 160
rect 541 88 1760 93
rect 1912 44 1964 128
rect 2076 160 2146 177
rect 2280 196 2290 198
rect 2322 198 2345 228
rect 2425 303 2588 335
rect 2620 303 2634 335
rect 2425 297 2634 303
rect 2425 228 2477 297
rect 2574 289 2634 297
rect 2670 238 2712 419
rect 2322 196 2332 198
rect 2076 128 2086 160
rect 2118 128 2146 160
rect 2076 125 2146 128
rect 2182 160 2230 170
rect 2182 128 2188 160
rect 2220 128 2230 160
rect 2182 44 2230 128
rect 2280 160 2332 196
rect 2280 128 2290 160
rect 2322 128 2332 160
rect 2280 118 2332 128
rect 2425 196 2435 228
rect 2467 196 2477 228
rect 2425 160 2477 196
rect 2425 128 2435 160
rect 2467 128 2477 160
rect 2425 118 2477 128
rect 2527 228 2579 238
rect 2527 196 2537 228
rect 2569 196 2579 228
rect 2527 160 2579 196
rect 2527 128 2537 160
rect 2569 128 2579 160
rect 2527 44 2579 128
rect 2625 228 2712 238
rect 2625 196 2639 228
rect 2671 196 2712 228
rect 2625 160 2712 196
rect 2625 128 2639 160
rect 2671 128 2712 160
rect 2625 118 2712 128
rect 0 16 2784 44
rect 0 -16 32 16
rect 64 -16 128 16
rect 160 -16 224 16
rect 256 -16 320 16
rect 352 -16 416 16
rect 448 -16 512 16
rect 544 -16 608 16
rect 640 -16 704 16
rect 736 -16 800 16
rect 832 -16 896 16
rect 928 -16 992 16
rect 1024 -16 1088 16
rect 1120 -16 1184 16
rect 1216 -16 1280 16
rect 1312 -16 1376 16
rect 1408 -16 1472 16
rect 1504 -16 1568 16
rect 1600 -16 1664 16
rect 1696 -16 1760 16
rect 1792 -16 1856 16
rect 1888 -16 1952 16
rect 1984 -16 2048 16
rect 2080 -16 2144 16
rect 2176 -16 2240 16
rect 2272 -16 2336 16
rect 2368 -16 2432 16
rect 2464 -16 2528 16
rect 2560 -16 2624 16
rect 2656 -16 2720 16
rect 2752 -16 2784 16
rect 0 -44 2784 -16
<< labels >>
flabel metal1 s 1290 304 1398 368 0 FreeSans 400 0 0 0 CLK
port 3 nsew
flabel metal1 s 0 -44 2784 44 0 FreeSans 400 0 0 0 VSS
port 4 nsew
flabel metal1 s 51 214 120 378 0 FreeSans 340 0 0 0 D
port 1 nsew
flabel metal1 s 2268 198 2345 304 0 FreeSans 340 0 0 0 Q_N
port 6 nsew
flabel metal1 s 2629 419 2712 631 0 FreeSans 340 0 0 0 Q
port 2 nsew
flabel metal1 s 429 302 550 393 0 FreeSans 400 0 0 0 RESET_B
port 5 nsew
flabel metal1 s 0 712 2784 800 0 FreeSans 400 0 0 0 VDD
port 7 nsew
<< properties >>
string FIXED_BBOX 0 0 2784 756
<< end >>
